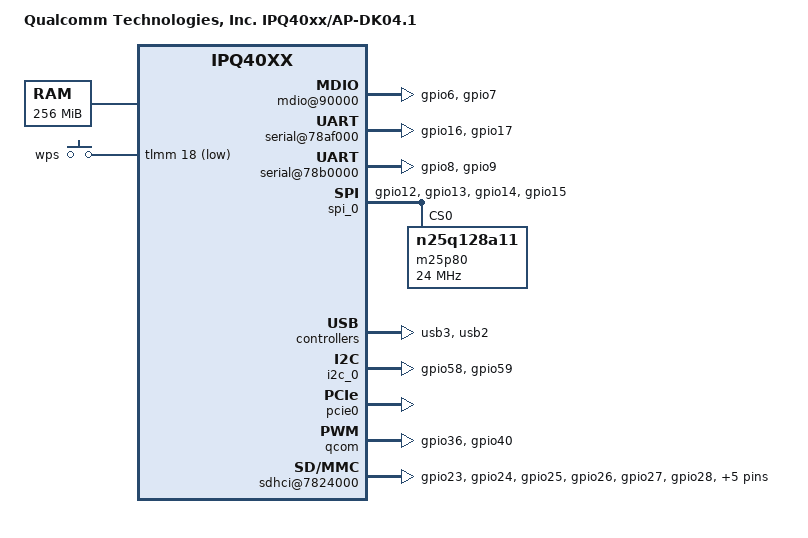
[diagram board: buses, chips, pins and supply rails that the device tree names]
/* Copyright (c) 2015, The Linux Foundation. All rights reserved.
 *
 * Permission to use, copy, modify, and/or distribute this software for any
 * purpose with or without fee is hereby granted, provided that the above
 * copyright notice and this permission notice appear in all copies.
 *
 * THE SOFTWARE IS PROVIDED "AS IS" AND THE AUTHOR DISCLAIMS ALL WARRANTIES
 * WITH REGARD TO THIS SOFTWARE INCLUDING ALL IMPLIED WARRANTIES OF
 * MERCHANTABILITY AND FITNESS. IN NO EVENT SHALL THE AUTHOR BE LIABLE FOR
 * ANY SPECIAL, DIRECT, INDIRECT, OR CONSEQUENTIAL DAMAGES OR ANY DAMAGES
 * WHATSOEVER RESULTING FROM LOSS OF USE, DATA OR PROFITS, WHETHER IN AN
 * ACTION OF CONTRACT, NEGLIGENCE OR OTHER TORTIOUS ACTION, ARISING OUT OF
 * OR IN CONNECTION WITH THE USE OR PERFORMANCE OF THIS SOFTWARE.
 *
 */

#include "qcom-ipq40xx_cc.dtsi"
#include "qcom-ipq40xx-hsuart.dtsi"
#include <dt-bindings/input/input.h>
#include <dt-bindings/gpio/gpio.h>

/ {
	model = "Qualcomm Technologies, Inc. IPQ40xx/AP-DK04.1";
	compatible = "qcom,ipq40xx-apdk04.1", "qcom,ipq40xx";

	memory {
		device_type = "memory";
		reg = <0x80000000 0x10000000>; /* 256MB */
	};

	reserved-memory {
		#address-cells = <1>;
		#size-cells = <1>;
		ranges;
		rsvd1@87000000 {
			/* Reserved for other subsystem */
			reg = <0x87000000 0x500000>;
			no-map;
		};
		wifi_dump@87500000 {
			reg = <0x87500000 0x600000>;
			no-map;
		};

		rsvd2@87B00000 {
			/* Reserved for other subsystem */
			reg = <0x87B00000 0x500000>;
			no-map;
		};
	};

	chosen {
		bootargs-append = " clk_ignore_unused user_debug=0xff";
	};

};
	&soc {
		pinctrl@0x01000000 {
			serial_0_pins: serial0_pinmux {
				mux {
					pins = "gpio16", "gpio17";
					function = "blsp_uart0";
					bias-disable;
				};
				pulldowns {
					pins = "gpio16";
					bias-pull-down;
				};
			};

			led_0_pins: led0_pinmux {
				mux_1 {
					pins = "gpio36";
					function = "led0";
					bias-pull-down;
				};
				mux_2 {
					pins = "gpio40";
					function = "led4";
					bias-pull-down;
				};
			};

			serial_1_pins: serial1_pinmux {
				mux {
					pins = "gpio8", "gpio9";
					function = "blsp_uart1";
					bias-disable;
				};
			};

			uart1_pins: uart1_pinmux {
				mux {
					pins = "gpio8", "gpio9", "gpio10", "gpio11";
					function = "blsp_uart1";
					bias-disable;
				};
			};

			spi_0_pins: spi_0_pinmux {
				mux {
					pins = "gpio12", "gpio13", "gpio14", "gpio15";
					function = "blsp_spi0";
					bias-disable;
				};
			};

			i2c_0_pins: i2c_0_pinmux {
				mux {
					pins = "gpio58", "gpio59";
					function = "blsp_i2c0";
					bias-disable;
				};
			};
			sd_0_pins: sd_0_pinmux {
				sd0 {
					pins = "gpio23";
					function = "sdio0";
					drive-strength = <10>;
				};
				sd1 {
					pins = "gpio24";
					function = "sdio1";
					drive-strength = <10>;
				};
				sd2 {
					pins = "gpio25";
					function = "sdio2";
					drive-strength = <10>;
				};
				sd3 {
					pins = "gpio26";
					function = "sdio3";
					drive-strength = <10>;
				};
				sdclk {
					pins = "gpio27";
					function = "sdio_clk";
					drive-strength = <16>;
				};
				sdcmd {
					pins = "gpio28";
					function = "sdio_cmd";
					drive-strength = <10>;
				};
				sd4 {
					pins = "gpio29";
					function = "sdio4";
					drive-strength = <10>;
				};
				sd5 {
					pins = "gpio30";
					function = "sdio5";
					drive-strength = <10>;
				};
				sd6 {
					pins = "gpio31";
					function = "sdio6";
					drive-strength = <10>;
				};
				sd7 {
					pins = "gpio32";
					function = "sdio7";
					drive-strength = <10>;
					bias-disable;
				};
			};
			ts_0_pins: ts_0_pinmux {
				mux_1 {
					pins = "gpio34";
					output-high;
				};
				mux_2 {
					pins= "gpio35";
					input-enable;
					bias-pull-up;
				};
			};
			mdio_pins: mdio_pinmux {
				mux_1 {
					pins = "gpio6";
					function = "mdio0";
					bias-bus-hold;
				};
				mux_2 {
					pins = "gpio7";
					function = "mdc";
					bias-bus-hold;
				};
			};
		};

		mdio@90000 {
			status = "ok";
			pinctrl-0 = <&mdio_pins>;
			pinctrl-names = "default";
			phy-reset-gpio = <&tlmm 47 0>;
			status = "ok";
			bias-disable;
		};

		serial@78af000 {
			pinctrl-0 = <&serial_0_pins>;
			pinctrl-names = "default";
			status = "ok";
		};

		serial@78b0000 {
			pinctrl-0 = <&serial_1_pins>;
			pinctrl-names = "default";
			status = "ok";
		};

		uart1:uart@78b0000 {
			pinctrl-0 = <&uart1_pins>;
			pinctrl-1 = <&uart1_pins>;
			pinctrl-names = "default", "sleep";
			status = "disabled";
		};

		spi_0: spi@78b5000 { /* BLSP1 QUP1 */
			pinctrl-0 = <&spi_0_pins>;
			pinctrl-names = "default";
			status = "ok";

			m25p80@0 {
				#address-cells = <1>;
				#size-cells = <1>;
				reg = <0>;
				compatible = "n25q128a11";
				linux,modalias = "m25p80", "n25q128a11";
				spi-max-frequency = <24000000>;
				use-default-sizes;
			};
		};

		tcsr: tcsr@194b000 {
			status = "ok";
		};

		usb3_ss_phy: ssphy@0 {
			status = "ok";
		};

		dummy_ss_phy: ssphy@1 {
			status = "ok";
		};

		usb3_hs_phy: hsphy@a6000 {
			status = "ok";
		};

		usb2_hs_phy: hsphy@a8000 {
			status = "ok";
		};

		usb3: usb3@8a00000 {
			status = "ok";
		};

		usb2: usb2@6000000 {
			status = "ok";
		};

		i2c_0: i2c@78b7000 { /* BLSP1 QUP2 */
			pinctrl-0 = <&i2c_0_pins>;
			pinctrl-1 = <&i2c_0_pins>;
			pinctrl-names = "i2c_active", "i2c_sleep";
			status = "ok";

			qca_codec: qca_codec@12 {
				compatible = "qca,ipq40xx-codec";
				reg = <0x12>;
				status = "disabled";
			};

			lcd_ts: lcd_ts@40 {
				compatible = "qca,gsl1680_ts";
				reg = <0x40>;
				status = "disabled";
			};
		};

		qcom_crypto: qcrypto@8e20000 {
			status = "ok";
		};

		qcom_cedev: qcedev@8e20000 {
			status = "ok";
		};

		pcie0: qcom,pcie@80000 {
			status = "ok";
			perst-gpio = <&tlmm 38 0>;
			wake-gpio = <&tlmm 40 0>;
			clkreq-gpio = <&tlmm 39 0>;
		};

		qcom: ledc@1937000  {
			status = "ok";
			pinctrl-0 = <&led_0_pins>;
			pinctrl-names = "default";
		};

		ess-switch@c000000 {
			switch_mac_mode = <0x0>; /* mac mode for RGMII RMII */
			switch_initvlas = <
				0x0007c 0x54 /* PORT0_STATUS */
			>;
			led_source@0 {
				led = <0x3>;     /*led number */
				source = <0x1>;  /*source id 1 */
				mode = "normal"; /*on,off,blink,normal */
				speed = "all";   /*10M,100M,1000M,all */
				freq = "auto";   /*2Hz,4Hz,8Hz,auto*/
			};
			led_source@1 {
				led = <0x4>;     /*led number */
				source = <0x4>;  /*source id 4 */
				mode = "normal"; /*on,off,blink,normal */
				speed = "all";   /*10M,100M,1000M,all */
				freq = "auto";   /*2Hz,4Hz,8Hz,auto*/
			};
			led_source@2 {
				led = <0x5>;     /*led number */
				source = <0x7>;  /*source id 7 */
				mode = "normal"; /*on,off,blink,normal */
				speed = "all";   /*10M,100M,1000M,all */
				freq = "auto";   /*2Hz,4Hz,8Hz,auto*/
			};
			led_source@3 {
				led = <0x6>;     /*led number */
				source = <0xa>;  /*source id 10 */
				mode = "normal"; /*on,off,blink,normal */
				speed = "all";   /*10M,100M,1000M,all */
				freq = "auto";   /*2Hz,4Hz,8Hz,auto*/
			};
			led_source@4 {
				led = <0x7>;     /*led number */
				source = <0xd>;  /*source id 13 */
				mode = "normal"; /*on,off,blink,normal */
				speed = "all";   /*10M,100M,1000M,all */
				freq = "auto";   /*2Hz,4Hz,8Hz,auto*/
			};
		};

		vccq_sd0: regulator@0 {
			compatible = "qcom,regulator-ipq40xx";
			regulator-name = "SD0 VccQ";
			regulator-min-microvolt = <1800000>;
			regulator-max-microvolt = <3000000>;
			states = <3000000 0x3
				1800000 0x1>;
			reg = <0x01948000 0x4>;
			mask = <0x3>;
		};

		sdhci@7824000 {
			status = "ok";
			pinctrl-0 = <&sd_0_pins>;
			pinctrl-names = "default";
			vqmmc-supply = <&vccq_sd0>;
			cd-gpios = <&tlmm 22 0x1>;
			sd-ldo-gpios = <&tlmm 33 0x1>;
		};

		qcom,nand@7980000 {
			status = "disabled";
		};

		gpio_keys {
			compatible = "gpio-keys";

			button@1 {
				label = "wps";
				linux,code = <KEY_WPS_BUTTON>;
				gpios = <&tlmm 18 GPIO_ACTIVE_LOW>;
				linux,input-type = <1>;
			};
		};

		wifi0: wifi@a000000 {
			wifi_led_num = <2>;         /* Wifi 2G */
			wifi_led_source = <0>;      /* source id 0 */
			qcom,mtd-name = "0:ART";
			qcom,cal-offset = <0x1000>;
			qcom,cal-len = <12064>;
		};

		wifi1: wifi@a800000 {
			wifi_led_num = <1>;         /* Wifi 5G */
			wifi_led_source = <2>;      /* source id 2 */
			qcom,mtd-name = "0:ART";
			qcom,cal-offset = <0x5000>;
			qcom,cal-len = <12064>;
		};
	};
